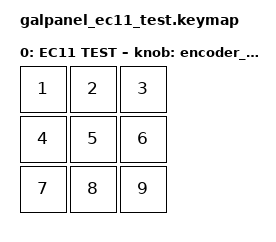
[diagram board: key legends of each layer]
/* GALPANEL nine-key + EC11 test: keys emit digits; rotation emits mouse scroll. */

#include <behaviors.dtsi>
#include <dt-bindings/zmk/keys.h>
#define ZMK_POINTING_DEFAULT_SCRL_VAL 100
#include <dt-bindings/zmk/pointing.h>

/ {
    behaviors {
        encoder_scroll_test: encoder_scroll_test {
            compatible = "zmk,behavior-sensor-rotate";
            #sensor-binding-cells = <0>;
            /* First binding is CCW, second is CW on this hardware. */
            bindings = <&msc SCRL_UP>, <&msc SCRL_DOWN>;
            /* &msc is a hold-style behavior. Keep it long enough for one
             * input-two-axis tick to produce a non-zero wheel report. */
            tap-ms = <20>;
        };
    };

    keymap {
        compatible = "zmk,keymap";

        ec11_test_layer {
            display-name = "EC11 TEST";

            /* D2 FAST, D3 AUTO, D4 NEXT, D5 QSAVE (right upper),
             * D7 DESKTOP (right lower), D8 SYS, D14 FN (left lower),
             * D18 QLOAD (left upper), D19 EC11_SW. */
            bindings = <
                &kp N1 &kp N2 &kp N3
                &kp N4 &kp N5 &kp N6
                &kp N7 &kp N8 &kp N9
            >;

            /* Hardware reports clockwise as negative: CCW=scroll up, CW=scroll down. */
            sensor-bindings = <&encoder_scroll_test>;
        };
    };
};
